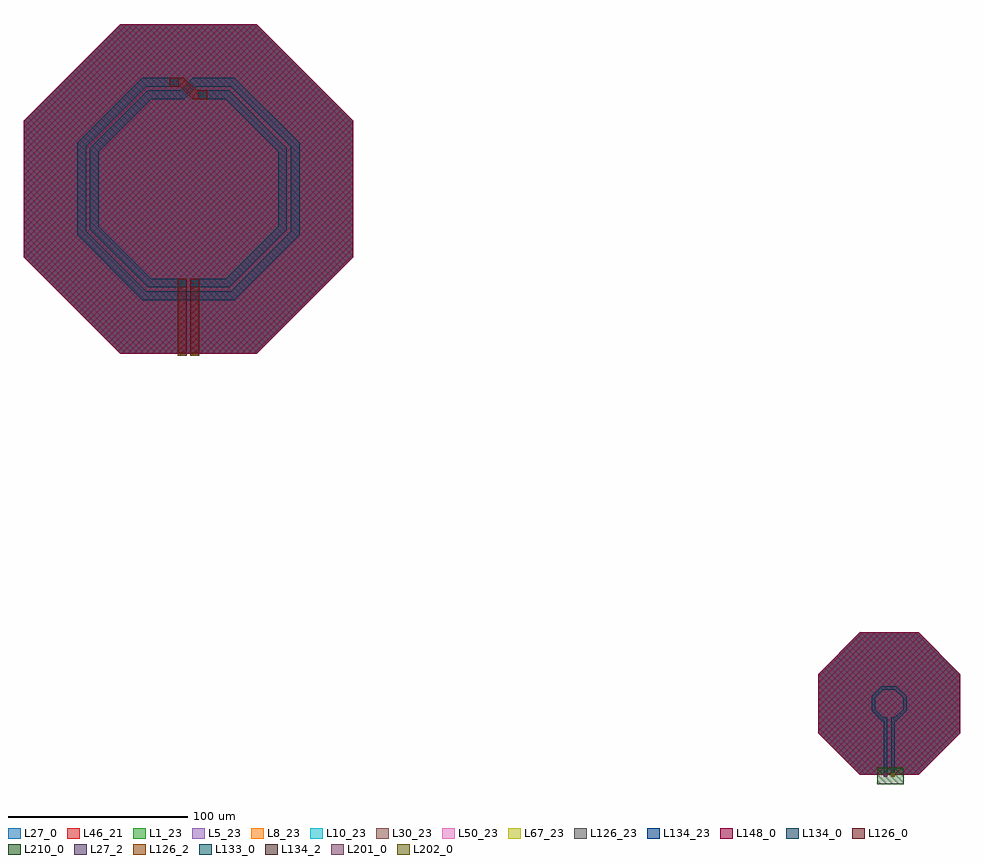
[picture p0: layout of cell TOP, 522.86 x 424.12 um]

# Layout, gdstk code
import gdstk
lib = gdstk.Library(unit=1e-6, precision=1e-09)
def R(c, l, rs):  # rectangles x0, y0, x1, y1
    for r in rs: c.add(gdstk.rectangle(r[:2], r[2:], *l))
def P(c, l, *ps):  # polygons
    for p in ps: c.add(gdstk.Polygon(p, *l))
L1_23 = (1, 23)
L5_23 = (5, 23)
L8_23 = (8, 23)
L10_23 = (10, 23)
L27_0 = (27, 0)
L27_2 = (27, 2)
L30_23 = (30, 23)
L46_21 = (46, 21)
L50_23 = (50, 23)
L67_23 = (67, 23)
L126_0 = (126, 0)
L126_2 = (126, 2)
L126_23 = (126, 23)
L133_0 = (133, 0)
L134_0 = (134, 0)
L134_2 = (134, 2)
L134_23 = (134, 23)
L148_0 = (148, 0)
L201_0 = (201, 0)
L202_0 = (202, 0)
L210_0 = (210, 0)

inductor2 = lib.new_cell('inductor2')
P(inductor2, L1_23, [(-16.46,0),(-39.75,23.29),(-39.75,56.21),(-16.46,79.5),(16.46,79.5),(39.75,56.21),(39.75,23.29),(16.46,0)])
P(inductor2, L5_23, [(-16.46,0),(-39.75,23.29),(-39.75,56.21),(-16.46,79.5),(16.46,79.5),(39.75,56.21),(39.75,23.29),(16.46,0)])
P(inductor2, L8_23, [(-16.46,0),(-39.75,23.29),(-39.75,56.21),(-16.46,79.5),(16.46,79.5),(39.75,56.21),(39.75,23.29),(16.46,0)])
P(inductor2, L10_23, [(-16.46,0),(-39.75,23.29),(-39.75,56.21),(-16.46,79.5),(16.46,79.5),(39.75,56.21),(39.75,23.29),(16.46,0)])
P(inductor2, L27_0, [(-16.46,0),(-39.75,23.29),(-39.75,56.21),(-16.46,79.5),(16.46,79.5),(39.75,56.21),(39.75,23.29),(16.46,0)])
R(inductor2, L27_2, [(-3.05,-1,-1.05,1), (1.05,-1,3.05,1)])
P(inductor2, L30_23, [(-16.46,0),(-39.75,23.29),(-39.75,56.21),(-16.46,79.5),(16.46,79.5),(39.75,56.21),(39.75,23.29),(16.46,0)])
P(inductor2, L46_21, [(-16.46,0),(-39.75,23.29),(-39.75,56.21),(-16.46,79.5),(16.46,79.5),(39.75,56.21),(39.75,23.29),(16.46,0)])
P(inductor2, L50_23, [(-16.46,0),(-39.75,23.29),(-39.75,56.21),(-16.46,79.5),(16.46,79.5),(39.75,56.21),(39.75,23.29),(16.46,0)])
P(inductor2, L67_23, [(-16.46,0),(-39.75,23.29),(-39.75,56.21),(-16.46,79.5),(16.46,79.5),(39.75,56.21),(39.75,23.29),(16.46,0)])
P(inductor2, L126_23, [(-16.46,0),(-39.75,23.29),(-39.75,56.21),(-16.46,79.5),(16.46,79.5),(39.75,56.21),(39.75,23.29),(16.46,0)])
R(inductor2, L134_0, [(-3.35,47.48,3.35,49.48)])
P(inductor2, L134_0, [(1.05,30),(1.05,32),(3.205,32),(7.74,36.535),(7.74,42.945),(3.205,47.48),(3.35,47.48),(3.35,49.48),(4.04,49.48),(9.74,43.78),(9.74,35.7),(4.04,30)],
  [(-4.04,30),(-9.74,35.7),(-9.74,43.78),(-4.04,49.48),(-3.35,49.48),(-3.35,47.48),(-3.205,47.48),(-7.74,42.945),(-7.74,36.535),(-3.205,32),(-1.05,32),(-1.05,30)])
R(inductor2, L134_2, [(-3.05,-1,-1.05,1), (1.05,-1,3.05,1)])
P(inductor2, L134_23, [(-16.46,0),(-39.75,23.29),(-39.75,56.21),(-16.46,79.5),(16.46,79.5),(39.75,56.21),(39.75,23.29),(16.46,0)])
P(inductor2, L148_0, [(-16.46,0),(-39.75,23.29),(-39.75,56.21),(-16.46,79.5),(16.46,79.5),(39.75,56.21),(39.75,23.29),(16.46,0)])
inductor2.add(gdstk.FlexPath([(2.05,-1),(2.05,32)], 2, ends="flush", simple_path=True, layer=134, datatype=0))  # L134_0
inductor2.add(gdstk.FlexPath([(-2.05,-1),(-2.05,32)], 2, ends="flush", simple_path=True, layer=134, datatype=0))  # L134_0
inductor2.add(gdstk.Label('LB', (2.05,0), layer=27, texttype=25))
inductor2.add(gdstk.Label('LA', (-2.05,0), layer=27, texttype=25))
inductor2.add(gdstk.Label('inductor2', (0,39.183), layer=63, texttype=0))
inductor2.add(gdstk.Label('  width=2.0\n  space=2.1\n  diameter=15.48\n  turns=1', (-39.75,32.56), layer=63, texttype=0))

inductor2_3 = lib.new_cell('inductor2$3')
P(inductor2_3, L1_23, [(-38.115,0),(-92.02,53.905),(-92.02,130.135),(-38.115,184.04),(38.115,184.04),(92.02,130.135),(92.02,53.905),(38.115,0)])
P(inductor2_3, L5_23, [(-38.115,0),(-92.02,53.905),(-92.02,130.135),(-38.115,184.04),(38.115,184.04),(92.02,130.135),(92.02,53.905),(38.115,0)])
P(inductor2_3, L8_23, [(-38.115,0),(-92.02,53.905),(-92.02,130.135),(-38.115,184.04),(38.115,184.04),(92.02,130.135),(92.02,53.905),(38.115,0)])
P(inductor2_3, L10_23, [(-38.115,0),(-92.02,53.905),(-92.02,130.135),(-38.115,184.04),(38.115,184.04),(92.02,130.135),(92.02,53.905),(38.115,0)])
P(inductor2_3, L27_0, [(-38.115,0),(-92.02,53.905),(-92.02,130.135),(-38.115,184.04),(38.115,184.04),(92.02,130.135),(92.02,53.905),(38.115,0)])
R(inductor2_3, L27_2, [(-6,-1,-1,1), (1,-1,6,1)])
P(inductor2_3, L30_23, [(-38.115,0),(-92.02,53.905),(-92.02,130.135),(-38.115,184.04),(38.115,184.04),(92.02,130.135),(92.02,53.905),(38.115,0)])
P(inductor2_3, L46_21, [(-38.115,0),(-92.02,53.905),(-92.02,130.135),(-38.115,184.04),(38.115,184.04),(92.02,130.135),(92.02,53.905),(38.115,0)])
P(inductor2_3, L50_23, [(-38.115,0),(-92.02,53.905),(-92.02,130.135),(-38.115,184.04),(38.115,184.04),(92.02,130.135),(92.02,53.905),(38.115,0)])
P(inductor2_3, L67_23, [(-38.115,0),(-92.02,53.905),(-92.02,130.135),(-38.115,184.04),(38.115,184.04),(92.02,130.135),(92.02,53.905),(38.115,0)])
P(inductor2_3, L126_0, [(2.485,142),(-4.535,149.02),(-10.38,149.02),(-10.38,154.02),(-2.485,154.02),(4.535,147),(10.38,147),(10.38,142)])
R(inductor2_3, L126_2, [(-6,-1,-1,1), (1,-1,6,1)])
P(inductor2_3, L126_23, [(-38.115,0),(-92.02,53.905),(-92.02,130.135),(-38.115,184.04),(38.115,184.04),(92.02,130.135),(92.02,53.905),(38.115,0)])
R(inductor2_3, L133_0, [(-4.93,38.07,-4.03,38.97), (-2.97,38.07,-2.07,38.97), (2.07,38.07,2.97,38.97), (4.03,38.07,4.93,38.97), (-4.93,40.03,-4.03,40.93), (-2.97,40.03,-2.07,40.93), (2.07,40.03,2.97,40.93), (4.03,40.03,4.93,40.93), (6.45,143.07,7.35,143.97), (8.41,143.07,9.31,143.97), (6.45,145.03,7.35,145.93), (8.41,145.03,9.31,145.93), (-9.31,150.07,-8.41,150.97), (-7.35,150.07,-6.45,150.97), (-9.31,152.03,-8.41,152.93), (-7.35,152.03,-6.45,152.93)])
R(inductor2_3, L134_0, [(-5.38,30,5.38,35)])
P(inductor2_3, L134_0, [(1,37),(1,42),(20.71,42),(50,71.29),(50,112.71),(20.71,142),(5.38,142),(5.38,147),(22.79,147),(55,114.79),(55,69.21),(22.79,37)],
  [(-22.79,37),(-55,69.21),(-55,114.79),(-22.79,147),(-5.38,147),(-5.38,142),(-20.71,142),(-50,112.71),(-50,71.29),(-20.71,42),(-1,42),(-1,37)],
  [(-5.38,142),(-5.38,147),(-4.535,147),(2.485,154.02),(5.38,154.02),(5.38,149.02),(4.565,149.02),(-2.455,142)],
  [(5.38,30),(5.38,35),(23.61,35),(57.01,68.4),(57.01,115.62),(23.61,149.02),(5.38,149.02),(5.38,154.02),(25.69,154.02),(62.01,117.7),(62.01,66.32),(25.69,30)],
  [(-25.69,30),(-62.01,66.32),(-62.01,117.7),(-25.69,154.02),(-5.38,154.02),(-5.38,149.02),(-23.61,149.02),(-57.01,115.62),(-57.01,68.4),(-23.61,35),(-5.38,35),(-5.38,30)])
P(inductor2_3, L134_23, [(-38.115,0),(-92.02,53.905),(-92.02,130.135),(-38.115,184.04),(38.115,184.04),(92.02,130.135),(92.02,53.905),(38.115,0)])
P(inductor2_3, L148_0, [(-38.115,0),(-92.02,53.905),(-92.02,130.135),(-38.115,184.04),(38.115,184.04),(92.02,130.135),(92.02,53.905),(38.115,0)])
inductor2_3.add(gdstk.FlexPath([(3.5,-1),(3.5,42)], 5, ends="flush", simple_path=True, layer=126, datatype=0))  # L126_0
inductor2_3.add(gdstk.FlexPath([(-3.5,-1),(-3.5,42)], 5, ends="flush", simple_path=True, layer=126, datatype=0))  # L126_0
inductor2_3.add(gdstk.Label('LB', (3.5,0), layer=27, texttype=25))
inductor2_3.add(gdstk.Label('LA', (-3.5,0), layer=27, texttype=25))
inductor2_3.add(gdstk.Label('inductor2', (0,94.783), layer=63, texttype=0))
inductor2_3.add(gdstk.Label('  width=5.0\n  space=2.0\n  diameter=100.00\n  turns=2', (-92.02,106.173), layer=63, texttype=0))

top = lib.new_cell('TOP')
R(top, L201_0, [(-2.595,-15.35,-0.595,-13.35)])
R(top, L202_0, [(1.505,-15.35,3.505,-13.35)])
R(top, L210_0, [(-6.325,-19.485,8.545,-10.425)])
top.add(gdstk.Reference(inductor2, (0.455,-14.35)))
top.add(gdstk.Reference(inductor2_3, (-390.63,220.59)))

lib.write_gds('TOP.gds')
